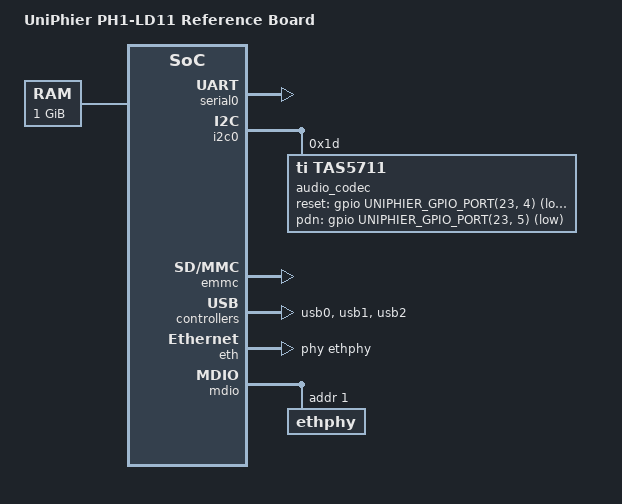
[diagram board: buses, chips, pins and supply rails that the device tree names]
// SPDX-License-Identifier: GPL-2.0+ OR MIT
//
// Device Tree Source for UniPhier PH1-LD11 Reference Board
//
// Copyright (C) 2016 Socionext Inc.
//   Author: Masahiro Yamada <yamada.masahiro@socionext.com>

/dts-v1/;
#include "uniphier-ph1-ld11.dtsi"
#include "uniphier-ref-daughter.dtsi"
#include "uniphier-support-card.dtsi"

/ {
	model = "UniPhier PH1-LD11 Reference Board";
	compatible = "socionext,ph1-ld11-ref", "socionext,ph1-ld11";

	chosen {
		stdout-path = "serial0:115200n8";
		bootargs = "earlycon";
	};

	aliases {
		serial0 = &serial0;
		serial1 = &serial1;
		serial2 = &serialsc;
		serial3 = &serial3;
		i2c0 = &i2c0;
		i2c1 = &i2c1;
		i2c2 = &i2c2;
		i2c3 = &i2c3;
		i2c4 = &i2c4;
		i2c5 = &i2c5;
		ethernet0 = &eth;
		ethernet1 = &ethsc;
	};

	memory {
		device_type = "memory";
		reg = <0 0x80000000 0 0x40000000>;
	};
};

&ethsc {
	interrupts = <0 8>;
};

&serialsc {
	interrupts = <0 8>;
};

&serial0 {
	status = "okay";
};

&i2c0 {
	status = "okay";

	audio_codec: tas5707a@1d {
		compatible = "ti,tas5711";
		reg = <0x1d>;
		mclk = <384>;
		reset-gpios = <&gpio UNIPHIER_GPIO_PORT(23, 4) GPIO_ACTIVE_LOW>;
		pdn-gpios = <&gpio UNIPHIER_GPIO_PORT(23, 5) GPIO_ACTIVE_LOW>;
		#sound-dai-cells = <0>;
	};
};

&sound_codec_sp {
	sound-dai = <&audio_codec>;
};

&emmc {
	status = "okay";
};

&usb0 {
	status = "okay";
};

&usb1 {
	status = "okay";
};

&usb2 {
	status = "okay";
};

&eth {
	status = "okay";
	phy-handle = <&ethphy>;
};

&mdio {
	ethphy: ethphy@1 {
		reg = <1>;
	};
};
